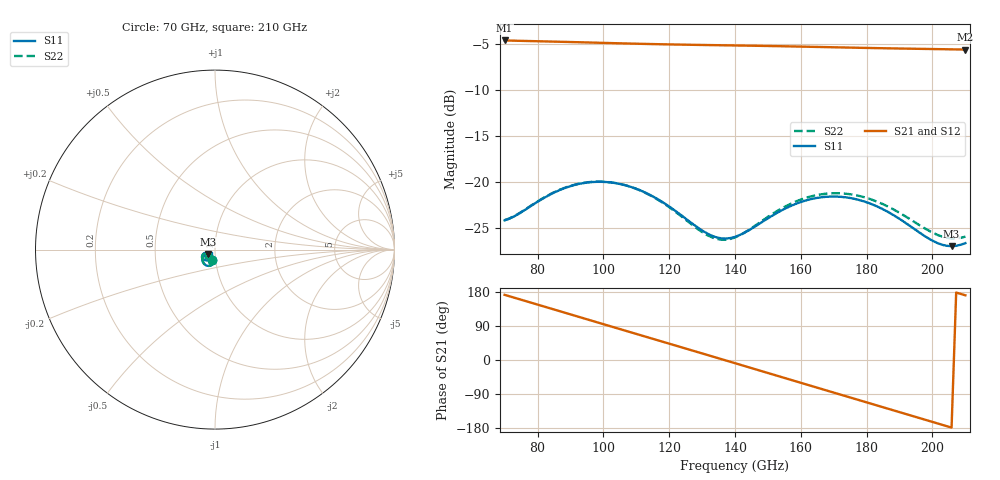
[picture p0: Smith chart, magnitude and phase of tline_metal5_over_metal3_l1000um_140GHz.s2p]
#  GHZ S DB R 50
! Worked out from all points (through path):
!   101 points, 70 GHz to 210 GHz, reference 50 ohm
!   highest |S21| = -4.66 dB at 70 GHz (marker M1); lowest = -5.7 dB at 210 GHz (marker M2)
!   group delay of S21, straight-line fit = 7.17 ps
!   lowest |S11| = -26.9 dB at 205.8 GHz (marker M3), VSWR 1.09, Z = 46.3 - j2.3 ohm
!   |S11| at or under -10 dB: start of sweep to end of sweep
!   |S22| runs from -26.2 to -19.9 dB; largest |S21 - S12| = 6.6e-14
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70  -24.12 -105.4  -4.66 172.0  -4.66 172.0  -24.10 -105.2
75.6  -23.13 -99.2  -4.71 157.6  -4.71 157.6  -23.09 -99.0
81.2  -21.86 -99.7  -4.76 143.2  -4.76 143.2  -21.82 -99.6
88.2  -20.64 -106.4  -4.82 125.1  -4.82 125.1  -20.61 -106.3
93.8  -20.10 -114.2  -4.87 110.6  -4.87 110.6  -20.07 -114.1
99.4  -19.95 -122.8  -4.92 96.1  -4.92 96.1  -19.93 -122.7
105  -20.18 -131.5  -4.97 81.7  -4.97 81.7  -20.18 -131.4
110.6  -20.79 -139.5  -5.02 67.3  -5.02 67.3  -20.80 -139.4
117.6  -22.06 -147.2  -5.07 49.3  -5.07 49.3  -22.12 -147.1
128.8  -24.93 -148.2  -5.15 20.5  -5.15 20.5  -25.09 -147.3
134.4  -25.97 -140.5  -5.18 6.1  -5.18 6.1  -26.13 -138.6
140  -25.91 -130.5  -5.21 -8.4  -5.21 -8.4  -25.97 -127.7
151.2  -23.64 -123.4  -5.27 -37.4  -5.27 -37.4  -23.47 -120.5
158.2  -22.38 -128.0  -5.32 -55.5  -5.32 -55.5  -22.12 -125.3
163.8  -21.77 -134.1  -5.36 -70.0  -5.36 -70.0  -21.47 -131.5
169.4  -21.55 -141.1  -5.40 -84.5  -5.40 -84.5  -21.20 -138.5
175  -21.71 -148.3  -5.44 -98.9  -5.44 -98.9  -21.30 -145.7
180.6  -22.25 -154.8  -5.48 -113.4  -5.48 -113.4  -21.77 -152.2
187.6  -23.44 -160.7  -5.52 -131.4  -5.52 -131.4  -22.84 -158.3
197.4  -25.76 -159.8  -5.58 -156.7  -5.58 -156.7  -24.93 -158.4
205.8  -26.92 -146.7  -5.63 -178.4  -5.63 -178.4  -26.07 -147.7
210  -26.59 -139.1  -5.65 170.7  -5.65 170.7  -25.89 -141.0
